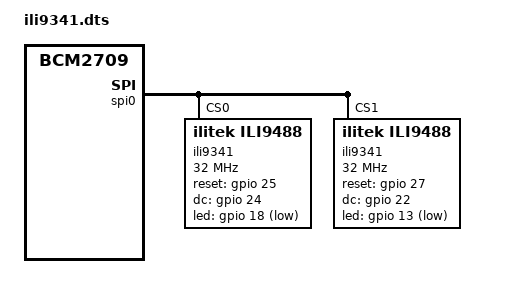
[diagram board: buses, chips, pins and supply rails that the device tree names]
/*
 * Device Tree overlay for 2x ili9488 3.5
 *
 */

/dts-v1/;
/plugin/;

/ {
	compatible = "brcm,bcm2835", "brcm,bcm2708", "brcm,bcm2709";

	fragment@0 {
		target = <&spi0>;
		__overlay__ {
			status = "okay";

			spidev@0{
				status = "disabled";
			};

			spidev@1{
				status = "disabled";
			};
		};
	};

	fragment@1 {
		target = <&spi0>;
		__overlay__ {
			/* needed to avoid dtc warning */
			#address-cells = <1>;
			#size-cells = <0>;

			ili9341@0{
				compatible = "ilitek,ili9488";
				reg = <0>;

				spi-max-frequency = <32000000>;
				rotate = <0>;
				buswidth = <8>;
				reset-gpios = <&gpio 25 0>;
				dc-gpios = <&gpio 24 0>;
				led-gpios = <&gpio 18 1>;
				debug = <4>;
			};

			ili9341@1{
				compatible = "ilitek,ili9488";
				reg = <1>;

				spi-max-frequency = <32000000>;
				rotate = <0>;
				buswidth = <8>;
				reset-gpios = <&gpio 27 0>;
				dc-gpios = <&gpio 22 0>;
				led-gpios = <&gpio 13 1>;
				debug = <4>;
			};
		};
	};
};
